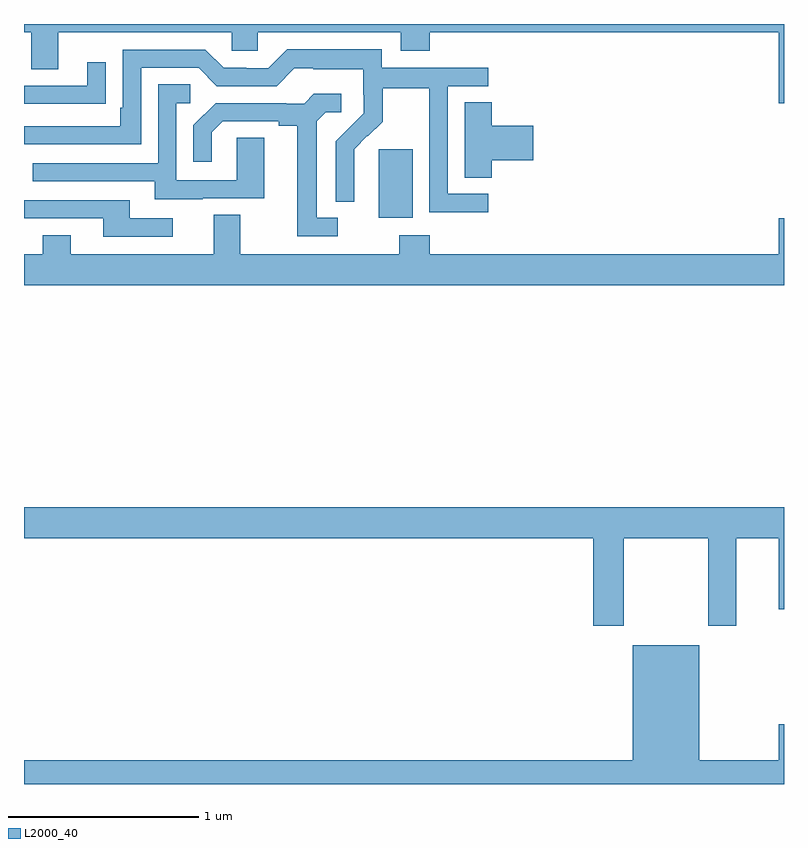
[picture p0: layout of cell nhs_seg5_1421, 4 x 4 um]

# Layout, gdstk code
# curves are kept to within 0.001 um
import gdstk
lib = gdstk.Library(unit=1e-6, precision=1e-09)
def R(c, l, rs):  # rectangles x0, y0, x1, y1
    for r in rs: c.add(gdstk.rectangle(r[:2], r[2:], *l))
def P(c, l, *ps):  # polygons
    for p in ps: c.add(gdstk.Polygon(p, *l))
L2000_40 = (2000, 40)

nhs_seg5_1421 = lib.new_cell('nhs_seg5_1421')
R(nhs_seg5_1421, L2000_40, [(198.866,859.778,199.045,860.139)])
P(nhs_seg5_1421, L2000_40, [(197,860.756),(197.039,860.756),(197.039,860.562),(197.179,860.562),(197.179,860.756),(198.093,860.756),(198.093,860.658),(198.231,860.658),(198.231,860.756),(198.983,860.756),(198.983,860.657),(199.136,860.657),(199.136,860.756),(200.972,860.756),(200.972,860.382),(201,860.382),(201,860.799),(197,860.799)],
  [(199.444,859.905),(199.23,859.905),(199.23,860.472),(199.444,860.472),(199.444,860.568),(198.882,860.568),(198.882,860.665),(198.385,860.665),(198.285,860.565),(198.17,860.565),(198.17,860.568),(198.051,860.568),(197.955,860.664),(197.52,860.664),(197.52,860.359),(197.507,860.359),(197.507,860.262),(197,860.262),(197,860.166),(197.616,860.166),(197.616,860.568),(197.919,860.568),(198.015,860.472),(198.33,860.472),(198.423,860.565),(198.523,860.565),(198.523,860.561),(198.786,860.561),(198.786,860.427),(198.788,860.427),(198.788,860.33),(198.642,860.182),(198.642,859.864),(198.738,859.864),(198.737,860.141),(198.807,860.211),(198.81,860.208),(198.887,860.285),(198.887,860.46),(199.132,860.46),(199.132,860.236),(199.134,860.236),(199.134,859.807),(199.444,859.807)],
  [(197.327,860.38),(197.429,860.38),(197.429,860.599),(197.333,860.599),(197.333,860.475),(197,860.475),(197,860.379),(197.327,860.379)],
  [(197.941,859.881),(198.265,859.881),(198.265,860.201),(198.12,860.201),(198.12,859.977),(197.802,859.977),(197.802,860.382),(197.875,860.382),(197.875,860.483),(197.706,860.483),(197.706,860.067),(197.047,860.067),(197.047,859.971),(197.687,859.971),(197.687,859.877),(197.941,859.877)],
  [(198.652,859.779),(198.541,859.779),(198.541,860.287),(198.588,860.334),(198.67,860.334),(198.67,860.431),(198.526,860.431),(198.474,860.379),(198.38,860.379),(198.38,860.382),(198.008,860.382),(197.892,860.266),(197.892,860.073),(197.989,860.073),(197.989,860.229),(198.046,860.286),(198.341,860.286),(198.341,860.264),(198.437,860.264),(198.437,859.683),(198.652,859.683)],
  [(199.463,860.081),(199.681,860.081),(199.681,860.264),(199.463,860.264),(199.463,860.387),(199.319,860.387),(199.319,859.99),(199.463,859.99)],
  [(197.782,859.776),(197.557,859.776),(197.557,859.872),(197,859.872),(197,859.776),(197.417,859.776),(197.417,859.68),(197.782,859.68)],
  [(201,859.777),(200.972,859.777),(200.972,859.588),(199.136,859.588),(199.136,859.687),(198.976,859.687),(198.976,859.588),(198.139,859.588),(198.139,859.796),(197.999,859.796),(197.999,859.588),(197.245,859.588),(197.245,859.687),(197.098,859.687),(197.098,859.588),(197,859.588),(197,859.424),(201,859.424)],
  [(200.157,858.092),(200.602,858.092),(200.602,857.631),(200.749,857.631),(200.749,858.092),(200.972,858.092),(200.972,857.718),(201,857.718),(201,858.256),(197,858.256),(197,858.092),(199.997,858.092),(199.997,857.631),(200.157,857.631)],
  [(201,857.113),(200.972,857.113),(200.972,856.924),(200.554,856.924),(200.554,857.53),(200.204,857.53),(200.204,856.924),(197,856.924),(197,856.799),(201,856.799)])

lib.write_gds('nhs_seg5_1421.gds')
